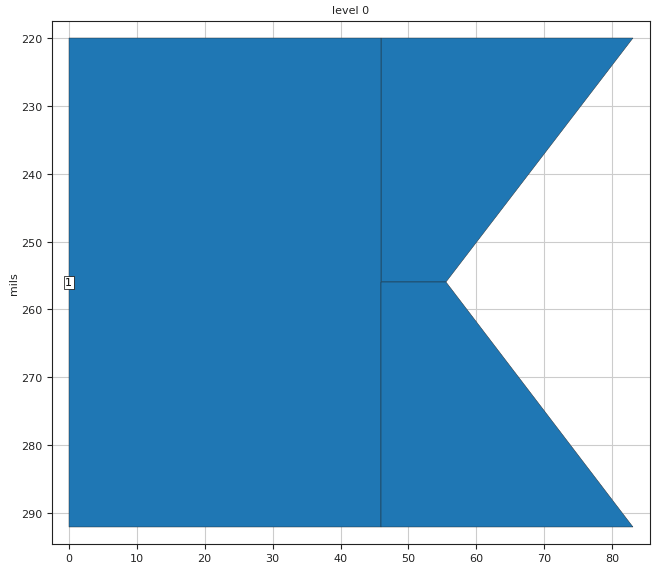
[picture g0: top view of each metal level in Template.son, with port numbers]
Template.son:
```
FTYP SONPROJ 5 ! Sonnet Project File
VER 12.56
HEADER
LIC sonnet9.aa.99999
DAT 11/18/2011 16:53:23
BUILT_BY_CREATED example 12.56 11/23/2009 22:31:05
BUILT_BY_SAVED xgeom 12.56
MDATE 11/18/2011 16:53:23
HDATE 11/18/2011 16:53:23
END HEADER
DIM
FREQ GHZ
IND NH
LNG mils
ANG DEG
CON /OH
CAP PF
RES OH
END DIM
FREQ
SIMPLE 4.0 5.5 0.1
ABS 4.59 4.594 
STEP 5.0
END FREQ
CONTROL
STD
OPTIONS  -d 
SPEED 1
CACHE_ABS 1
TARG_ABS 300
Q_ACC N
END CONTROL
GEO
DRP1 LEFT LINK
POLY 12 1
1
DRP1 RIGHT FIX 26
TMET "Lossless" 0 SUP 0 0 0 0
BMET "Lossless" 0 SUP 0 0 0 0
MET "Copper" 1 NOR 58000000 0 0.669
MET "Metal1" 1 RES 116.375
BOX 1 256 512 1024 2048 20 0
      55 3 1 0.0013 0 0 2 "Rogers RO3003"
      55 3 1 0.0013 0 0 2 "Rogers RO3003"
VALVAR W1 LNG 37 "Dim. Param."
POR1 STD
POLY 13 1
2
1 50 0 0 0 0 256 
NUM 3
0 5 0 N 12 1 1 100 100 0 0 0 Y
55.5 256
46 256
46 220
83 220
55.5 256
END
0 5 0 N 13 1 1 100 100 0 0 0 Y
46 220
46 292
0 292
0 220
46 220
END
0 5 0 N 15 1 1 100 100 0 0 0 Y
55.5 256
46 256
46 292
83 292
55.5 256
END
END GEO
OPT
MAX 100
VARS
W1 N UNDEF UNDEF UNDEF
END OPT
VARSWP
END VARSWP
FILEOUT
TS D Y $BASENAME.s3p IC 8 S MA R 50.00000
END FILEOUT
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```
